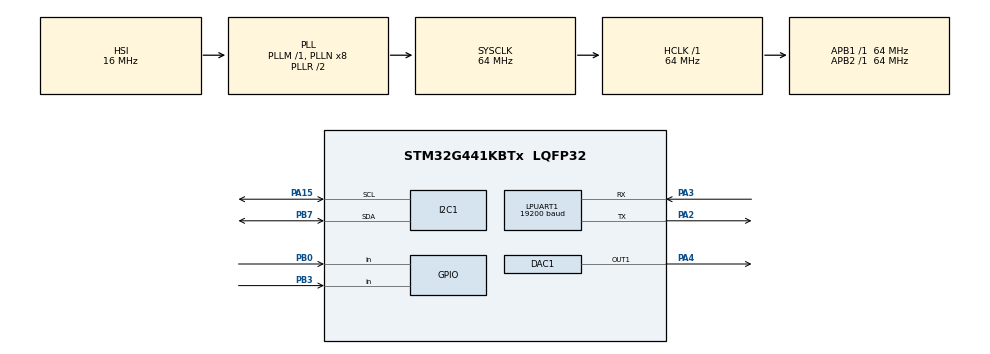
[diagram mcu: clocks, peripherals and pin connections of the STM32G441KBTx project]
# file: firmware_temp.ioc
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I2C1.Timing=0x10707DBC
LPUART1.BaudRate=19200
Mcu.Family=STM32G4
Mcu.Name=STM32G441KBTx
Mcu.Package=LQFP32
NVIC.PriorityGroup=NVIC_PRIORITYGROUP_4
PA15.GPIO_Pu=GPIO_PULLUP
PA15.Mode=I2C
PA15.Signal=I2C1_SCL
PA2.GPIO_PuPd=GPIO_PULLUP
PA2.Mode=Asynchronous
PA2.Signal=LPUART1_TX
PA3.GPIO_PuPd=GPIO_PULLUP
PA3.Mode=Asynchronous
PA3.Signal=LPUART1_RX
PA4.Signal=COMP_DAC11_group
PB0.Signal=GPIO_Input
PB3.Signal=GPIO_Input
PB7.GPIO_Pu=GPIO_PULLUP
PB7.Mode=I2C
PB7.Signal=I2C1_SDA
ProjectManager.HeapSize=0x200
ProjectManager.StackSize=0x400
ProjectManager.TargetToolchain=STM32CubeIDE
RCC.ADC12Freq_Value=64000000
RCC.AHBFreq_Value=64000000
RCC.APB1Freq_Value=64000000
RCC.APB1TimFreq_Value=64000000
RCC.APB2Freq_Value=64000000
RCC.APB2TimFreq_Value=64000000
RCC.CortexFreq_Value=64000000
RCC.EXTERNAL_CLOCK_VALUE=12288000
RCC.HCLKFreq_Value=64000000
RCC.HSE_VALUE=8000000
RCC.HSI48_VALUE=48000000
RCC.HSI_VALUE=16000000
RCC.LSE_VALUE=32768
RCC.SYSCLKFreq_VALUE=64000000
RCC.SYSCLKSource=RCC_SYSCLKSOURCE_PLLCLK
RCC.USBFreq_Value=64000000
RCC.VCOOutputFreq_Value=128000000
SH.COMP_DAC11_group.0=DAC1_OUT1,DAC_OUT1
TIM2.CounterMode=TIM_COUNTERMODE_DOWN
TIM2.PeriodNoDither=1
TIM2.Prescaler=15999
VP_TIM2_VS_ClockSourceINT.Mode=Internal
board=custom

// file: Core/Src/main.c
/* USER CODE BEGIN Header */
/**
  ******************************************************************************
  * @file           : main.c
  * @brief          : Main program body
  ******************************************************************************
  * @attention
  *
  * Copyright (c) 2023 STMicroelectronics.
  * All rights reserved.
  *
  * This software is licensed under terms that can be found in the LICENSE file
  * in the root directory of this software component.
  * If no LICENSE file comes with this software, it is provided AS-IS.
  *
  ******************************************************************************
  */
/* USER CODE END Header */
#include "main.h"
#include "accelerometer.h"
#include <stdio.h>

DAC_HandleTypeDef hdac1;

I2C_HandleTypeDef hi2c1;

UART_HandleTypeDef hlpuart1;

TIM_HandleTypeDef htim2;

/* USER CODE BEGIN PV */
static volatile struct accelerometer_t xl_r = {.slave_r_addr = ACC0_R_ADDR, .slave_w_addr = ACC0_W_ADDR, .irq_pin = GPIO_PIN_0};
static volatile struct accelerometer_t xl_l = {.slave_r_addr = ACC1_R_ADDR, .slave_w_addr = ACC1_W_ADDR, .irq_pin = GPIO_PIN_1};
static volatile HAL_StatusTypeDef status;

/* USER CODE END PV */

void SystemClock_Config(void);
static void MX_GPIO_Init(void);
static void MX_DAC1_Init(void);
static void MX_I2C1_Init(void);
static void MX_LPUART1_UART_Init(void);
static void MX_TIM2_Init(void);

/* USER CODE BEGIN 0 */
static volatile HAL_StatusTypeDef status;

int _write(int fd, char* ptr, int len) {
  HAL_UART_Transmit(&hlpuart1, (uint8_t *) ptr, len, HAL_MAX_DELAY);
  return len;
}
/* USER CODE END 0 */

int main(void)
{

  /* MCU Configuration--------------------------------------------------------*/

  /* Reset of all peripherals, Initializes the Flash interface and the Systick. */
  HAL_Init();

  /* Configure the system clock */
  SystemClock_Config();

  /* Initialize all configured peripherals */
  MX_GPIO_Init();
  MX_DAC1_Init();
  MX_I2C1_Init();
  MX_LPUART1_UART_Init();
  MX_TIM2_Init();
  /* USER CODE BEGIN 2 */
  acc_init(&xl_l);
  acc_init(&xl_r);
  /* USER CODE END 2 */

  /* Infinite loop */
  /* USER CODE BEGIN WHILE */
  while (1)
  {
	  status = read_axis(&xl_r, ALL_AXIS);
	  status = read_axis(&xl_l, ALL_AXIS);
		if(xl_r.z_xlr < -0x1000)
		{
			printf("hit R\r\n");
			HAL_TIM_Base_Start_IT(&htim2);
		}
		if(xl_l.z_xlr < -0x1000)
		{
			printf("hit L \r\n");
			HAL_TIM_Base_Start_IT(&htim2);
		}

//		printf("howdy\r\n");
//		printf("%d\r\n",xl_r.x_xlr);
//		printf("%d\r\n",xl_r.y_xlr);
//		printf("%d\r\n",xl_r.z_xlr);
    /* USER CODE END WHILE */

  }
}

void SystemClock_Config(void)
{
  RCC_OscInitTypeDef RCC_OscInitStruct = {0};
  RCC_ClkInitTypeDef RCC_ClkInitStruct = {0};

  /** Configure the main internal regulator output voltage
  */
  HAL_PWREx_ControlVoltageScaling(PWR_REGULATOR_VOLTAGE_SCALE1);

  /** Initializes the RCC Oscillators according to the specified parameters
  * in the RCC_OscInitTypeDef structure.
  */
  RCC_OscInitStruct.OscillatorType = RCC_OSCILLATORTYPE_HSI;
  RCC_OscInitStruct.HSIState = RCC_HSI_ON;
  RCC_OscInitStruct.HSICalibrationValue = RCC_HSICALIBRATION_DEFAULT;
  RCC_OscInitStruct.PLL.PLLState = RCC_PLL_ON;
  RCC_OscInitStruct.PLL.PLLSource = RCC_PLLSOURCE_HSI;
  RCC_OscInitStruct.PLL.PLLM = RCC_PLLM_DIV1;
  RCC_OscInitStruct.PLL.PLLN = 8;
  RCC_OscInitStruct.PLL.PLLP = RCC_PLLP_DIV2;
  RCC_OscInitStruct.PLL.PLLQ = RCC_PLLQ_DIV2;
  RCC_OscInitStruct.PLL.PLLR = RCC_PLLR_DIV2;
  if (HAL_RCC_OscConfig(&RCC_OscInitStruct) != HAL_OK)
  {
    Error_Handler();
  }

  /** Initializes the CPU, AHB and APB buses clocks
  */
  RCC_ClkInitStruct.ClockType = RCC_CLOCKTYPE_HCLK|RCC_CLOCKTYPE_SYSCLK
                              |RCC_CLOCKTYPE_PCLK1|RCC_CLOCKTYPE_PCLK2;
  RCC_ClkInitStruct.SYSCLKSource = RCC_SYSCLKSOURCE_PLLCLK;
  RCC_ClkInitStruct.AHBCLKDivider = RCC_SYSCLK_DIV1;
  RCC_ClkInitStruct.APB1CLKDivider = RCC_HCLK_DIV1;
  RCC_ClkInitStruct.APB2CLKDivider = RCC_HCLK_DIV1;

  if (HAL_RCC_ClockConfig(&RCC_ClkInitStruct, FLASH_LATENCY_2) != HAL_OK)
  {
    Error_Handler();
  }
}

static void MX_DAC1_Init(void)
{

  DAC_ChannelConfTypeDef sConfig = {0};

  /** DAC Initialization
  */
  hdac1.Instance = DAC1;
  if (HAL_DAC_Init(&hdac1) != HAL_OK)
  {
    Error_Handler();
  }

  /** DAC channel OUT1 config
  */
  sConfig.DAC_HighFrequency = DAC_HIGH_FREQUENCY_INTERFACE_MODE_AUTOMATIC;
  sConfig.DAC_DMADoubleDataMode = DISABLE;
  sConfig.DAC_SignedFormat = DISABLE;
  sConfig.DAC_SampleAndHold = DAC_SAMPLEANDHOLD_DISABLE;
  sConfig.DAC_Trigger = DAC_TRIGGER_NONE;
  sConfig.DAC_Trigger2 = DAC_TRIGGER_NONE;
  sConfig.DAC_OutputBuffer = DAC_OUTPUTBUFFER_ENABLE;
  sConfig.DAC_ConnectOnChipPeripheral = DAC_CHIPCONNECT_EXTERNAL;
  sConfig.DAC_UserTrimming = DAC_TRIMMING_FACTORY;
  if (HAL_DAC_ConfigChannel(&hdac1, &sConfig, DAC_CHANNEL_1) != HAL_OK)
  {
    Error_Handler();
  }

}

static void MX_I2C1_Init(void)
{

  hi2c1.Instance = I2C1;
  hi2c1.Init.Timing = 0x10707DBC;
  hi2c1.Init.OwnAddress1 = 0;
  hi2c1.Init.AddressingMode = I2C_ADDRESSINGMODE_7BIT;
  hi2c1.Init.DualAddressMode = I2C_DUALADDRESS_DISABLE;
  hi2c1.Init.OwnAddress2 = 0;
  hi2c1.Init.OwnAddress2Masks = I2C_OA2_NOMASK;
  hi2c1.Init.GeneralCallMode = I2C_GENERALCALL_DISABLE;
  hi2c1.Init.NoStretchMode = I2C_NOSTRETCH_DISABLE;
  if (HAL_I2C_Init(&hi2c1) != HAL_OK)
  {
    Error_Handler();
  }

  /** Configure Analogue filter
  */
  if (HAL_I2CEx_ConfigAnalogFilter(&hi2c1, I2C_ANALOGFILTER_ENABLE) != HAL_OK)
  {
    Error_Handler();
  }

  /** Configure Digital filter
  */
  if (HAL_I2CEx_ConfigDigitalFilter(&hi2c1, 0) != HAL_OK)
  {
    Error_Handler();
  }

}

static void MX_LPUART1_UART_Init(void)
{

  hlpuart1.Instance = LPUART1;
  hlpuart1.Init.BaudRate = 19200;
  hlpuart1.Init.WordLength = UART_WORDLENGTH_8B;
  hlpuart1.Init.StopBits = UART_STOPBITS_1;
  hlpuart1.Init.Parity = UART_PARITY_NONE;
  hlpuart1.Init.Mode = UART_MODE_TX_RX;
  hlpuart1.Init.HwFlowCtl = UART_HWCONTROL_NONE;
  hlpuart1.Init.OneBitSampling = UART_ONE_BIT_SAMPLE_DISABLE;
  hlpuart1.Init.ClockPrescaler = UART_PRESCALER_DIV1;
  hlpuart1.AdvancedInit.AdvFeatureInit = UART_ADVFEATURE_NO_INIT;
  if (HAL_UART_Init(&hlpuart1) != HAL_OK)
  {
    Error_Handler();
  }
  if (HAL_UARTEx_SetTxFifoThreshold(&hlpuart1, UART_TXFIFO_THRESHOLD_1_8) != HAL_OK)
  {
    Error_Handler();
  }
  if (HAL_UARTEx_SetRxFifoThreshold(&hlpuart1, UART_RXFIFO_THRESHOLD_1_8) != HAL_OK)
  {
    Error_Handler();
  }
  if (HAL_UARTEx_DisableFifoMode(&hlpuart1) != HAL_OK)
  {
    Error_Handler();
  }

}

static void MX_TIM2_Init(void)
{

  TIM_ClockConfigTypeDef sClockSourceConfig = {0};
  TIM_MasterConfigTypeDef sMasterConfig = {0};

  htim2.Instance = TIM2;
  htim2.Init.Prescaler = 15999;
  htim2.Init.CounterMode = TIM_COUNTERMODE_DOWN;
  htim2.Init.Period = 1;
  htim2.Init.ClockDivision = TIM_CLOCKDIVISION_DIV1;
  htim2.Init.AutoReloadPreload = TIM_AUTORELOAD_PRELOAD_DISABLE;
  if (HAL_TIM_Base_Init(&htim2) != HAL_OK)
  {
    Error_Handler();
  }
  sClockSourceConfig.ClockSource = TIM_CLOCKSOURCE_INTERNAL;
  if (HAL_TIM_ConfigClockSource(&htim2, &sClockSourceConfig) != HAL_OK)
  {
    Error_Handler();
  }
  sMasterConfig.MasterOutputTrigger = TIM_TRGO_RESET;
  sMasterConfig.MasterSlaveMode = TIM_MASTERSLAVEMODE_DISABLE;
  if (HAL_TIMEx_MasterConfigSynchronization(&htim2, &sMasterConfig) != HAL_OK)
  {
    Error_Handler();
  }

}

static void MX_GPIO_Init(void)
{
  GPIO_InitTypeDef GPIO_InitStruct = {0};

  /* GPIO Ports Clock Enable */
  __HAL_RCC_GPIOA_CLK_ENABLE();
  __HAL_RCC_GPIOB_CLK_ENABLE();

  /*Configure GPIO pins : PB0 PB3 */
  GPIO_InitStruct.Pin = GPIO_PIN_0|GPIO_PIN_3;
  GPIO_InitStruct.Mode = GPIO_MODE_INPUT;
  GPIO_InitStruct.Pull = GPIO_NOPULL;
  HAL_GPIO_Init(GPIOB, &GPIO_InitStruct);

}

/* USER CODE BEGIN 4 */
/**
  * @brief Timer Callback function
  * @param htim - the timer that triggered the callback
  * @retval None
  */
void HAL_TIM_PeriodElapsedCallback(TIM_HandleTypeDef *htim)
{

  uint8_t msg[25] = "test\n";

  // Check which version of the timer triggered this callback and toggle LED
  if (htim == &htim2)
  {
	  HAL_GPIO_WritePin(GPIOA, GPIO_PIN_8, GPIO_PIN_SET);
  }
//  if (htim == &htim21)
//  {
//	  status = read_axis(&xl_r, ALL_AXIS);
//	  sprintf(msg, "%d,%d,%d", xl_r.x_xlr, xl_r.y_xlr, xl_r.z_xlr);
//	  HAL_UART_Transmit(&hlpuart1, msg, sizeof(msg), 10);
//  }
}
/* USER CODE END 4 */

void Error_Handler(void)
{
  __disable_irq();
  while (1)
  {
  }
}
